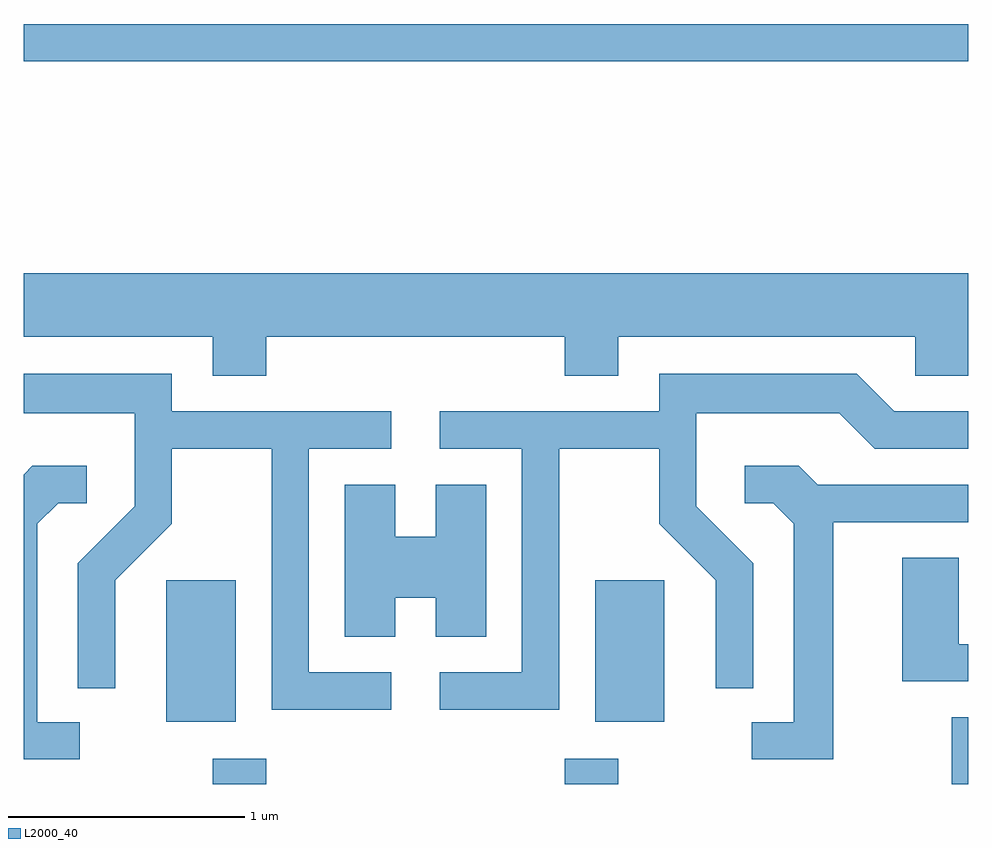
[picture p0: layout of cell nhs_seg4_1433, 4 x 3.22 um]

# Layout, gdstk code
import gdstk
lib = gdstk.Library(unit=1e-6, precision=1e-09)
def R(c, l, rs):  # rectangles x0, y0, x1, y1
    for r in rs: c.add(gdstk.rectangle(r[:2], r[2:], *l))
def P(c, l, *ps):  # polygons
    for p in ps: c.add(gdstk.Polygon(p, *l))
L2000_40 = (2000, 40)

nhs_seg4_1433 = lib.new_cell('nhs_seg4_1433')
R(nhs_seg4_1433, L2000_40, [(228.411,1263.982,228.639,1264.089), (229.901,1263.982,230.129,1264.089), (231.541,1263.982,231.611,1264.264), (228.216,1264.246,228.509,1264.844), (230.031,1264.246,230.324,1264.844), (227.611,1267.041,231.611,1267.199)])
P(nhs_seg4_1433, L2000_40, [(228.639,1265.876),(229.901,1265.876),(229.901,1265.711),(230.129,1265.711),(230.129,1265.876),(231.386,1265.876),(231.386,1265.711),(231.611,1265.711),(231.611,1266.144),(227.611,1266.144),(227.611,1265.876),(228.411,1265.876),(228.411,1265.711),(228.639,1265.711)],
  [(229.879,1265.401),(230.301,1265.401),(230.301,1265.084),(230.541,1264.844),(230.541,1264.388),(230.699,1264.388),(230.699,1264.917),(230.459,1265.157),(230.459,1265.551),(231.064,1265.551),(231.214,1265.401),(231.611,1265.401),(231.611,1265.559),(231.297,1265.559),(231.137,1265.719),(230.301,1265.719),(230.301,1265.559),(229.373,1265.559),(229.373,1265.401),(229.721,1265.401),(229.721,1264.454),(229.373,1264.454),(229.373,1264.296),(229.879,1264.296)],
  [(229.168,1264.454),(228.819,1264.454),(228.819,1265.401),(229.168,1265.401),(229.168,1265.559),(228.239,1265.559),(228.239,1265.719),(227.611,1265.719),(227.611,1265.551),(228.081,1265.551),(228.081,1265.157),(227.841,1264.917),(227.841,1264.388),(227.999,1264.388),(227.999,1264.844),(228.239,1265.084),(228.239,1265.401),(228.661,1265.401),(228.661,1264.296),(229.168,1264.296)],
  [(227.848,1264.244),(227.669,1264.244),(227.669,1265.084),(227.757,1265.171),(227.878,1265.171),(227.878,1265.329),(227.649,1265.329),(227.611,1265.291),(227.611,1264.086),(227.848,1264.086)],
  [(231.039,1265.091),(231.611,1265.091),(231.611,1265.249),(230.972,1265.249),(230.892,1265.329),(230.663,1265.329),(230.663,1265.171),(230.784,1265.171),(230.871,1265.084),(230.871,1264.244),(230.693,1264.244),(230.693,1264.086),(231.039,1264.086)],
  [(229.184,1264.771),(229.356,1264.771),(229.356,1264.606),(229.569,1264.606),(229.569,1265.249),(229.356,1265.249),(229.356,1265.029),(229.184,1265.029),(229.184,1265.249),(228.971,1265.249),(228.971,1264.606),(229.184,1264.606)],
  [(231.611,1264.574),(231.569,1264.574),(231.569,1264.939),(231.331,1264.939),(231.331,1264.416),(231.611,1264.416)])

lib.write_gds('nhs_seg4_1433.gds')
